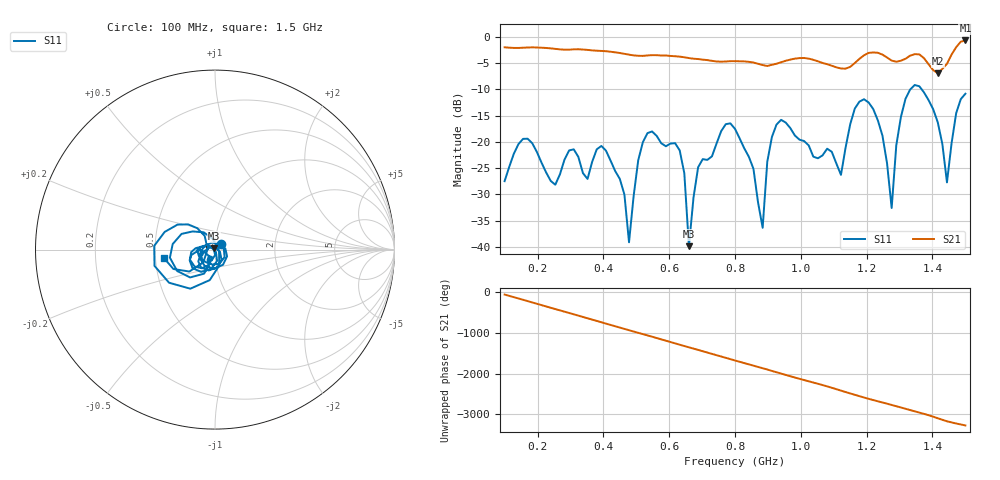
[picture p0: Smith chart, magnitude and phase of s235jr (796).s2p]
! NanoVNA-App
! Date: 2025-09-25 15:10:22
! Start: 100MHz Stop: 1,5GHz Points: 101
! S-Parameter data: F S11 S21 S12 S22
# Hz S RI R 50
!  Frequency  S11_Real  S11_Imag  S21_Real  S21_Imag  S12_Real  S12_Imag  S22_Real  S22_Imag
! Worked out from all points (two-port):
!   101 points, 100 MHz to 1.5 GHz, reference 50 ohm
!   highest |S21| = -0.66 dB at 1.5 GHz (marker M1); lowest = -6.9 dB at 1.416 GHz (marker M2)
!   |S21| within 3 dB of the highest: start of sweep to 616.3 MHz; 1.188 GHz to 1.256 GHz (67.21 MHz wide, 5.5 % of centre) (the widest 2 of 4)
!   lowest |S11| = -39.9 dB at 660 MHz (marker M3), VSWR 1.02, Z = 49.2 + j0.656 ohm
!   |S11| at or under -10 dB: start of sweep to 1.332 GHz; 1.367 GHz to end of sweep
!   S12 and S22 are empty: the file has one direction only
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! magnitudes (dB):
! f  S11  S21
! 100 MHz  -27.5  -2.0
! 156 MHz  -19.4  -2.0
! 338 MHz  -25.9  -2.4
! 408 MHz  -21.7  -2.7
! 478 MHz  -39.1  -3.4
! 520 MHz  -20.1  -3.6
! 576 MHz  -20.2  -3.5
! 632 MHz  -21.6  -3.7
! 660 MHz  -39.9  -4.0
! 688 MHz  -24.8  -4.2
! 800 MHz  -17.5  -4.6
! 884 MHz  -36.4  -5.3
! 926 MHz  -16.7  -5.1
! 1.038 GHz  -22.8  -4.3
! 1.122 GHz  -26.3  -6.0
! 1.192 GHz  -11.9  -3.5
! 1.248 GHz  -18.8  -3.4
! 1.276 GHz  -32.6  -4.5
! 1.332 GHz  -10.0  -3.6
! 1.416 GHz  -16.2  -6.9
! 1.444 GHz  -27.7  -5.1
! 1.5 GHz  -10.8  -0.7
